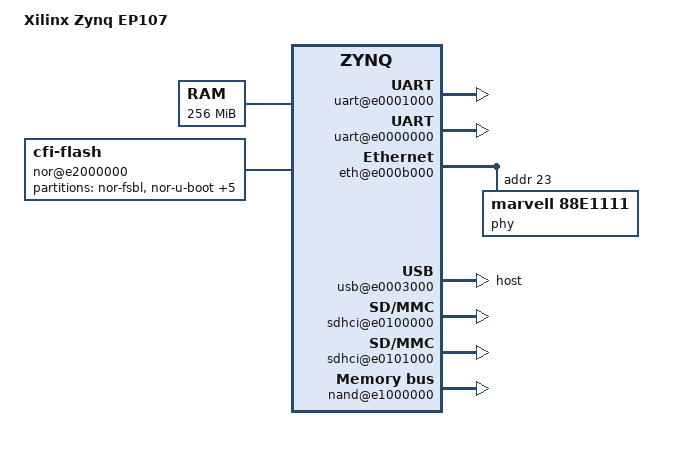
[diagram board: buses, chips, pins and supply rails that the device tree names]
/dts-v1/;

/ {
	model = "Xilinx Zynq EP107";
	compatible = "xlnx,zynq-ep107";
	#address-cells = <0x1>;
	#size-cells = <0x1>;
	interrupt-parent = <0x1>;

	memory {
		device_type = "memory";
		reg = <0x0 0x10000000>;
	};

	chosen {
		bootargs = "console=ttyPS0,115200 root=/dev/ram rw initrd=0x800000,8M earlyprintk ip=:::::eth0:dhcp";
		linux,stdout-path = "/amba@0/uart@E0001000";
	};

	amba@0 {
		compatible = "simple-bus";
		#address-cells = <0x1>;
		#size-cells = <0x1>;
		ranges;

		intc@f8f01000 {
			interrupt-controller;
			compatible = "arm,gic";
			reg = <0xf8f01000 0x1000>;
			#interrupt-cells = <0x2>;
			linux,phandle = <0x1>;
			phandle = <0x1>;
		};

		uart@e0001000 {
			compatible = "xlnx,ps7-uart-1.00.a";
			reg = <0xe0001000 0x1000>;
			interrupts = <0x52 0x0>;
			clock = <0x2faf080>;
		};

		uart@e0000000 {
			compatible = "xlnx,ps7-uart-1.00.a";
			reg = <0xe0000000 0x1000>;
			interrupts = <0x3b 0x0>;
			clock = <0x2faf080>;
		};

		gpio@e000a000 {
			compatible = "xlnx,ps7-gpio-1.00.a";
			reg = <0xe000a000 0x1000>;
			interrupts = <0x34 0x0>;
		};

		eth@e000b000 {
			compatible = "xlnx,ps7-ethernet-1.00.a";
			reg = <0xe000b000 0x1000>;
			interrupts = <0x36 0x0>;
			phy-handle = <0x2>;
			#address-cells = <0x1>;
			#size-cells = <0x0>;

			phy@23 {
				compatible = "marvell,88e1111";
				device_type = "ethernet-phy";
				reg = <0x17>;
				linux,phandle = <0x2>;
				phandle = <0x2>;
			};
		};

		usb@e0003000 {
			compatible = "xlnx,ps7-usb-1.00.a";
			reg = <0xe0003000 0x1000>;
			interrupts = <0x4c 0x0>;
			dr_mode = "host";
			phy_type = "ulpi";
		};

		tft@E0102000 {
			compatible = "xlnx,xps-tft-2.01.a";
			reg = <0xe0102000 0x10000>;
			xlnx,dcr-splb-slave-if = <0x1>;
			xlnx,default-tft-base-addr = <0x0>;
			xlnx,family = "virtex5";
			xlnx,tft-interface = <0x1>;
		};

		sdhci@e0100000 {
			compatible = "generic-sdhci";
			reg = <0xe0100000 0x1000>;
			interrupts = <0x38 0x0>;
		};

		sdhci@e0101000 {
			compatible = "generic-sdhci";
			reg = <0xe0101000 0x1000>;
			interrupts = <0x4f 0x0>;
		};

		nor@e2000000 {
			compatible = "cfi-flash";
			bank-width = <0x1>;
			reg = <0xe2000000 0x2000000>;
			#address-cells = <0x1>;
			#size-cells = <0x1>;

			partition@0 {
				label = "nor-fsbl";
				reg = <0x0 0x80000>;
			};

			partition@1 {
				label = "nor-u-boot";
				reg = <0x80000 0x80000>;
			};

			partition@2 {
				label = "nor-linux";
				reg = <0x100000 0x500000>;
			};

			partition@3 {
				label = "nor-device-tree";
				reg = <0x600000 0x20000>;
			};

			partition@4 {
				label = "nor-user";
				reg = <0x620000 0x8e0000>;
			};

			partition@5 {
				label = "nor-scratch";
				reg = <0xf00000 0x100000>;
			};

			partition@6 {
				label = "nor-rootfs";
				reg = <0x1000000 0x1000000>;
			};
		};

		devcfg@f8007000 {
			compatible = "xlnx,ps7-dev-cfg-1.00.a";
			reg = <0xf8007000 0x1000>;
			interrupts = <0x28 0x0>;
		};

		nand@e1000000 {
			compatible = "xlnx,ps7-nand-1.00.a";
			reg = <0xe1000000 0x1000000 0xe000e000 0x1000>;
			#address-cells = <0x1>;
			#size-cells = <0x1>;

			partition@0 {
				label = "nand-fsbl";
				reg = <0x0 0x100000>;
			};

			partition@1 {
				label = "nand-u-boot";
				reg = <0x100000 0x100000>;
			};

			partition@2 {
				label = "nand-linux";
				reg = <0x200000 0x500000>;
			};

			partition@3 {
				label = "nand-device-tree";
				reg = <0x700000 0x20000>;
			};

			partition@4 {
				label = "nand-user";
				reg = <0x720000 0xe0000>;
			};

			partition@5 {
				label = "nand-scratch";
				reg = <0x800000 0x100000>;
			};

			partition@6 {
				label = "nand-rootfs";
				reg = <0x900000 0x8000000>;
			};

			partition@7 {
				label = "nand-bitstreams";
				reg = <0x8900000 0x7700000>;
			};
		};
	};
};
